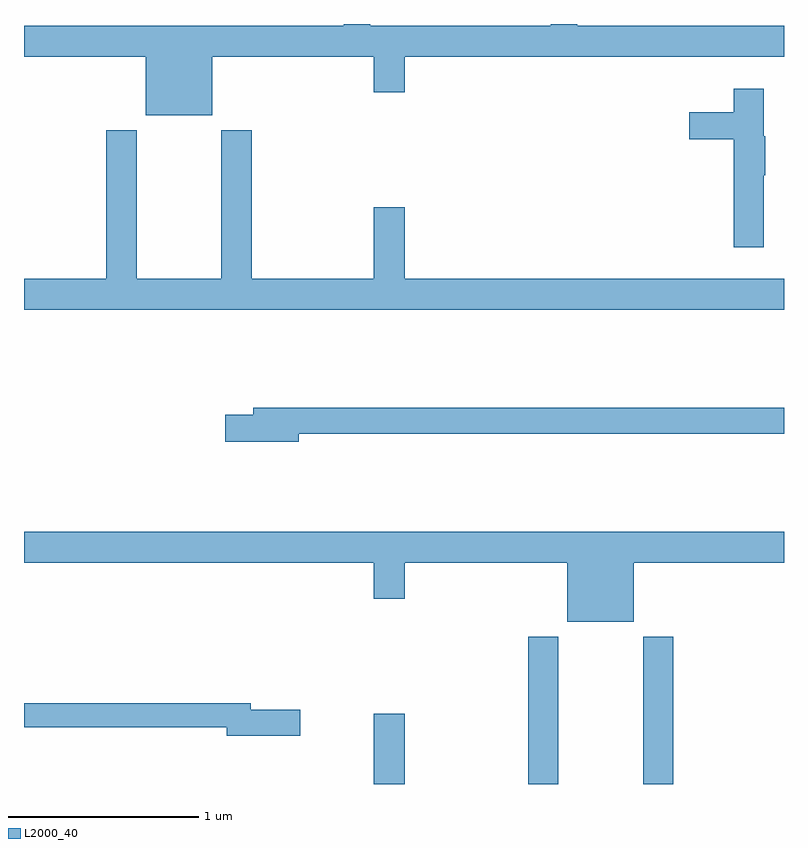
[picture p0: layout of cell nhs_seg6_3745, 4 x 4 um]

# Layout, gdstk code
import gdstk
lib = gdstk.Library(unit=1e-6, precision=1e-09)
def R(c, l, rs):  # rectangles x0, y0, x1, y1
    for r in rs: c.add(gdstk.rectangle(r[:2], r[2:], *l))
def P(c, l, *ps):  # polygons
    for p in ps: c.add(gdstk.Polygon(p, *l))
L2000_40 = (2000, 40)

nhs_seg6_3745 = lib.new_cell('nhs_seg6_3745')
R(nhs_seg6_3745, L2000_40, [(332.84,951.5,333.004,951.871), (333.653,951.5,333.813,952.276), (334.258,951.5,334.418,952.276)])
P(nhs_seg6_3745, L2000_40, [(332.823,955.5),(332.684,955.5),(332.684,955.492),(331,955.492),(331,955.328),(331.64,955.328),(331.64,955.019),(331.99,955.019),(331.99,955.328),(332.84,955.328),(332.84,955.14),(333.004,955.14),(333.004,955.328),(335,955.328),(335,955.492),(333.913,955.492),(333.913,955.5),(333.773,955.5),(333.773,955.492),(332.823,955.492)],
  [(334.894,954.703),(334.902,954.703),(334.902,954.909),(334.894,954.909),(334.894,955.159),(334.736,955.159),(334.736,955.035),(334.5,955.035),(334.5,954.893),(334.736,954.893),(334.736,954.324),(334.894,954.324)],
  [(335,954.16),(333.004,954.16),(333.004,954.535),(332.84,954.535),(332.84,954.16),(332.198,954.16),(332.198,954.94),(332.038,954.94),(332.038,954.16),(331.593,954.16),(331.593,954.94),(331.433,954.94),(331.433,954.16),(331,954.16),(331,953.996),(335,953.996)],
  [(332.446,953.344),(335,953.344),(335,953.48),(332.207,953.48),(332.207,953.444),(332.058,953.444),(332.058,953.302),(332.446,953.302)],
  [(334.21,952.664),(335,952.664),(335,952.828),(331,952.828),(331,952.664),(332.84,952.664),(332.84,952.476),(333.004,952.476),(333.004,952.664),(333.86,952.664),(333.86,952.355),(334.21,952.355)],
  [(332.455,951.89),(332.194,951.89),(332.194,951.926),(331,951.926),(331,951.798),(332.066,951.798),(332.066,951.755),(332.455,951.755)])

lib.write_gds('nhs_seg6_3745.gds')
